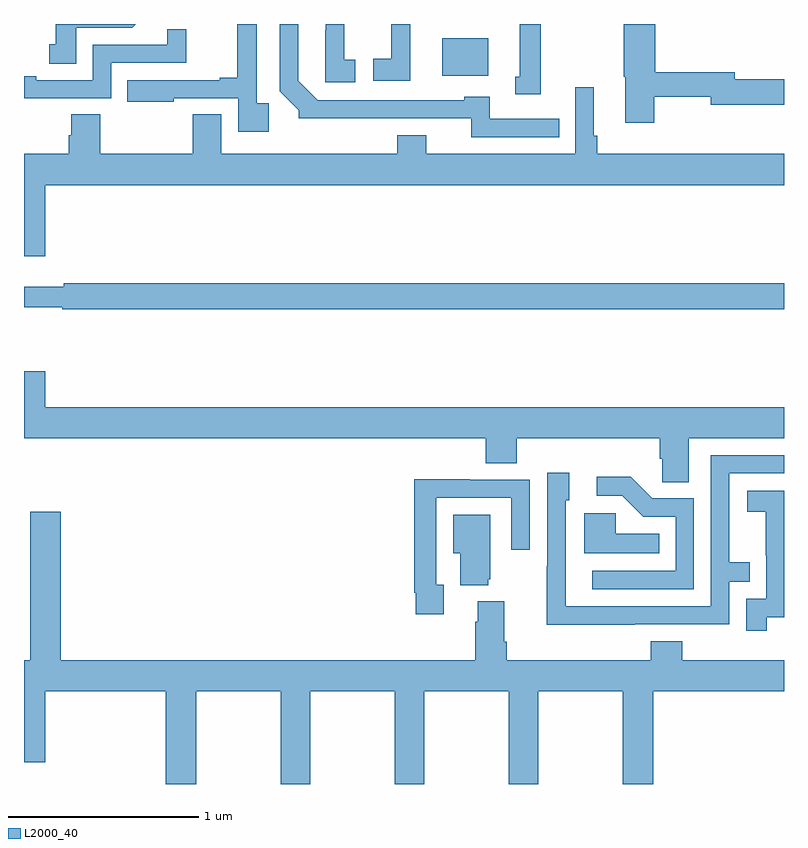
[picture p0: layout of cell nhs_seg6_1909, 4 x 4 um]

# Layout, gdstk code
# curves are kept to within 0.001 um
import gdstk
lib = gdstk.Library(unit=1e-6, precision=1e-09)
def R(c, l, rs):  # rectangles x0, y0, x1, y1
    for r in rs: c.add(gdstk.rectangle(r[:2], r[2:], *l))
def P(c, l, *ps):  # polygons
    for p in ps: c.add(gdstk.Polygon(p, *l))
L2000_40 = (2000, 40)

nhs_seg6_1909 = lib.new_cell('nhs_seg6_1909')
R(nhs_seg6_1909, L2000_40, [(227.201,965.228,227.443,965.425)])
P(nhs_seg6_1909, L2000_40, [(227.719,965.5),(227.609,965.5),(227.609,965.223),(227.585,965.223),(227.585,965.129),(227.719,965.129)],
  [(227.032,965.5),(226.933,965.5),(226.933,965.318),(226.839,965.318),(226.839,965.202),(227.032,965.202)],
  [(226.744,965.313),(226.686,965.313),(226.686,965.5),(226.587,965.5),(226.587,965.468),(226.586,965.468),(226.586,965.193),(226.744,965.193)],
  [(227.816,965.001),(227.452,965.001),(227.452,965.116),(227.316,965.116),(227.316,965.1),(226.545,965.1),(226.444,965.201),(226.444,965.5),(226.347,965.5),(226.347,965.146),(226.446,965.047),(226.446,965.003),(227.353,965.004),(227.353,964.905),(227.816,964.905)],
  [(228.318,965.118),(228.614,965.118),(228.614,965.075),(229,965.075),(229,965.21),(228.742,965.21),(228.742,965.246),(228.323,965.246),(228.323,965.5),(228.157,965.5),(228.157,965.223),(228.164,965.223),(228.164,964.98),(228.318,964.98)],
  [(225.274,965.481),(225.57,965.481),(225.589,965.5),(225.167,965.5),(225.167,965.394),(225.134,965.394),(225.134,965.29),(225.274,965.29)],
  [(226.289,965.083),(226.224,965.083),(226.224,965.5),(226.123,965.5),(226.123,965.218),(226.031,965.218),(226.031,965.205),(225.544,965.205),(225.544,965.09),(225.787,965.09),(225.787,965.109),(226.128,965.109),(226.128,964.932),(226.289,964.932)],
  [(225.459,965.295),(225.854,965.295),(225.854,965.473),(225.753,965.473),(225.753,965.391),(225.363,965.391),(225.363,965.205),(225.064,965.205),(225.064,965.225),(225,965.225),(225,965.109),(225.459,965.109)],
  [(225.112,964.652),(229,964.652),(229,964.816),(228.017,964.816),(228.017,964.912),(227.998,964.912),(227.998,965.167),(227.901,965.167),(227.901,964.816),(227.116,964.816),(227.116,964.915),(226.964,964.915),(226.964,964.816),(226.039,964.816),(226.039,965.024),(225.887,965.024),(225.887,964.816),(225.401,964.816),(225.401,965.024),(225.248,965.024),(225.248,964.914),(225.236,964.914),(225.236,964.816),(225,964.816),(225,964.278),(225.112,964.278)],
  [(229,964.136),(225.208,964.136),(225.208,964.117),(225,964.117),(225,964.008),(225.2,964.008),(225.2,964),(229,964)],
  [(228.499,963.32),(229,963.32),(229,963.484),(225.112,963.484),(225.112,963.673),(225,963.673),(225,963.32),(227.429,963.32),(227.429,963.187),(227.594,963.187),(227.594,963.32),(228.347,963.32),(228.347,963.211),(228.36,963.211),(228.36,963.088),(228.499,963.088)],
  [(228.215,962.34),(228.711,962.34),(228.711,962.565),(228.821,962.565),(228.821,962.666),(228.711,962.666),(228.711,963.135),(229,963.135),(229,963.231),(228.615,963.231),(228.615,962.436),(227.851,962.436),(227.851,962.666),(227.85,962.666),(227.85,962.994),(227.869,962.994),(227.869,963.139),(227.754,963.139),(227.754,962.645),(227.752,962.645),(227.752,962.339),(228.215,962.339)],
  [(228.525,963.003),(228.306,963.003),(228.193,963.116),(228.015,963.116),(228.015,963.018),(228.149,963.018),(228.26,962.907),(228.429,962.907),(228.429,962.622),(227.991,962.622),(227.991,962.526),(228.525,962.526)],
  [(227.209,962.55),(227.169,962.55),(227.169,963.006),(227.565,963.006),(227.565,962.733),(227.661,962.733),(227.661,963.102),(227.345,963.102),(227.345,963.104),(227.053,963.104),(227.053,962.506),(227.061,962.506),(227.061,962.394),(227.209,962.394)],
  [(228.91,962.377),(229,962.377),(229,963.043),(228.807,963.043),(228.807,962.933),(228.905,962.933),(228.905,962.705),(228.906,962.705),(228.906,962.475),(228.801,962.475),(228.801,962.307),(228.91,962.307)],
  [(228.311,961.988),(229,961.988),(229,962.152),(228.464,962.152),(228.464,962.251),(228.299,962.251),(228.299,962.152),(227.54,962.152),(227.54,962.248),(227.527,962.248),(227.527,962.461),(227.387,962.461),(227.387,962.354),(227.375,962.354),(227.375,962.152),(225.194,962.152),(225.194,962.932),(225.034,962.932),(225.034,962.152),(225,962.152),(225,961.614),(225.112,961.614),(225.112,961.988),(225.746,961.988),(225.746,961.5),(225.906,961.5),(225.906,961.988),(226.351,961.988),(226.351,961.5),(226.506,961.5),(226.506,961.988),(226.951,961.988),(226.951,961.5),(227.106,961.5),(227.106,961.988),(227.551,961.988),(227.551,961.5),(227.706,961.5),(227.706,961.988),(228.151,961.988),(228.151,961.5),(228.311,961.5)],
  [(228.344,962.818),(228.114,962.818),(228.114,962.926),(227.948,962.926),(227.948,962.714),(228.344,962.714)],
  [(227.444,962.577),(227.455,962.577),(227.455,962.917),(227.258,962.917),(227.258,962.714),(227.297,962.714),(227.297,962.546),(227.444,962.546)])

lib.write_gds('nhs_seg6_1909.gds')
